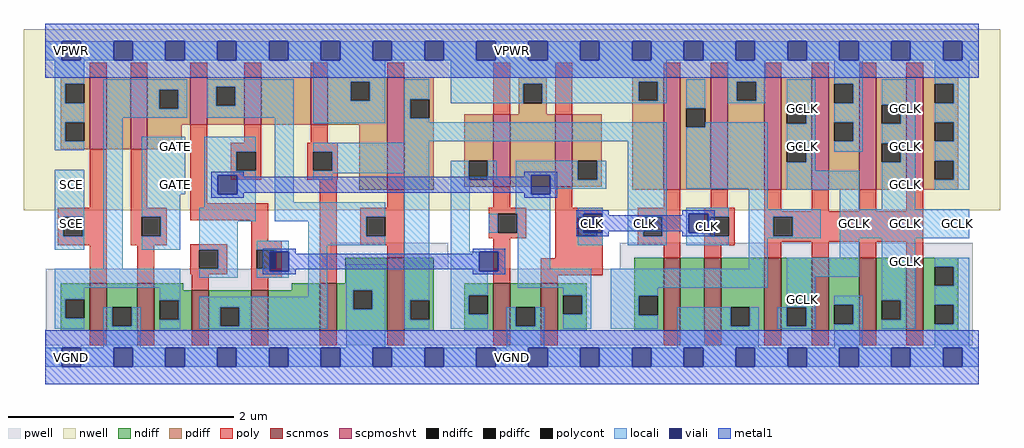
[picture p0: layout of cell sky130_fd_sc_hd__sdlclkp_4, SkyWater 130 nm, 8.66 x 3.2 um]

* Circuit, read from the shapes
.subckt sky130_fd_sc_hd__sdlclkp_4 CLK GATE SCE VGND VNB VPB VPWR GCLK
XM1 VGND SCE n1 VNB sky130_fd_pr__nfet_01v8 w=0.42 l=0.15
XM2 n1 GATE VGND VNB sky130_fd_pr__nfet_01v8 w=0.42 l=0.15
XM3 n2 n3 n1 VNB sky130_fd_pr__nfet_01v8 w=0.36 l=0.15
XM4 n4 n5 n2 VNB sky130_fd_pr__nfet_01v8 w=0.36 l=0.15
XM5 VGND n6 n4 VNB sky130_fd_pr__nfet_01v8 w=0.42 l=0.15
XM6 n6 n2 VGND VNB sky130_fd_pr__nfet_01v8 w=0.65 l=0.15
XM7 VGND n3 n5 VNB sky130_fd_pr__nfet_01v8 w=0.42 l=0.15
XM8 n3 CLK VGND VNB sky130_fd_pr__nfet_01v8 w=0.42 l=0.15
XM9 n7 n6 n8 VNB sky130_fd_pr__nfet_01v8 w=0.65 l=0.15
XM10 VGND CLK n7 VNB sky130_fd_pr__nfet_01v8 w=0.65 l=0.15
XM11 GCLK n8 VGND VNB sky130_fd_pr__nfet_01v8 w=0.65 l=0.15 m=4
XM12 n9 SCE VPWR VPB sky130_fd_pr__pfet_01v8_hvt w=0.64 l=0.15
XM13 n1 GATE n9 VPB sky130_fd_pr__pfet_01v8_hvt w=0.64 l=0.15
XM14 n2 n5 n1 VPB sky130_fd_pr__pfet_01v8_hvt w=0.42 l=0.15
XM15 n10 n3 n2 VPB sky130_fd_pr__pfet_01v8_hvt w=0.42 l=0.15
XM16 VPWR n6 n10 VPB sky130_fd_pr__pfet_01v8_hvt w=0.42 l=0.15
XM17 n6 n2 VPWR VPB sky130_fd_pr__pfet_01v8_hvt w=1 l=0.15
XM18 VPWR n3 n5 VPB sky130_fd_pr__pfet_01v8_hvt w=0.64 l=0.15
XM19 n3 CLK VPWR VPB sky130_fd_pr__pfet_01v8_hvt w=0.64 l=0.15
XM20 n8 n6 VPWR VPB sky130_fd_pr__pfet_01v8_hvt w=1 l=0.15
XM21 VPWR CLK n8 VPB sky130_fd_pr__pfet_01v8_hvt w=1 l=0.15
XM22 GCLK n8 VPWR VPB sky130_fd_pr__pfet_01v8_hvt w=1 l=0.15 m=4
.ends

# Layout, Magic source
magic
tech sky130A
magscale 1 2
<< nwell >>
rect -38 261 1694 582
<< pwell >>
rect 506 157 715 203
rect 1019 157 1646 203
rect 1 21 1646 157
rect 30 -17 64 21
<< scnmos >>
rect 79 47 109 131
rect 163 47 193 131
rect 260 47 290 119
rect 365 47 395 119
rect 487 47 517 131
rect 607 47 637 177
rect 795 47 825 131
rect 879 47 909 131
rect 1097 47 1127 177
rect 1169 47 1199 177
rect 1276 47 1306 177
rect 1360 47 1390 177
rect 1444 47 1474 177
rect 1528 47 1558 177
<< scpmoshvt >>
rect 79 369 109 497
rect 151 369 181 497
rect 257 413 287 497
rect 353 413 383 497
rect 471 413 501 497
rect 607 297 637 497
rect 795 303 825 431
rect 905 303 935 431
rect 1097 297 1127 497
rect 1181 297 1211 497
rect 1276 297 1306 497
rect 1360 297 1390 497
rect 1444 297 1474 497
rect 1528 297 1558 497
<< ndiff >>
rect 27 103 79 131
rect 27 69 35 103
rect 69 69 79 103
rect 27 47 79 69
rect 109 89 163 131
rect 109 55 119 89
rect 153 55 163 89
rect 109 47 163 55
rect 193 119 245 131
rect 532 131 607 177
rect 437 119 487 131
rect 193 101 260 119
rect 193 67 203 101
rect 237 67 260 101
rect 193 47 260 67
rect 290 89 365 119
rect 290 55 310 89
rect 344 55 365 89
rect 290 47 365 55
rect 395 47 487 119
rect 517 119 607 131
rect 517 85 546 119
rect 580 85 607 119
rect 517 47 607 85
rect 637 101 689 177
rect 637 67 647 101
rect 681 67 689 101
rect 637 47 689 67
rect 743 110 795 131
rect 743 76 751 110
rect 785 76 795 110
rect 743 47 795 76
rect 825 89 879 131
rect 825 55 835 89
rect 869 55 879 89
rect 825 47 879 55
rect 909 110 961 131
rect 909 76 919 110
rect 953 76 961 110
rect 909 47 961 76
rect 1045 109 1097 177
rect 1045 75 1053 109
rect 1087 75 1097 109
rect 1045 47 1097 75
rect 1127 47 1169 177
rect 1199 89 1276 177
rect 1199 55 1216 89
rect 1250 55 1276 89
rect 1199 47 1276 55
rect 1306 89 1360 177
rect 1306 55 1316 89
rect 1350 55 1360 89
rect 1306 47 1360 55
rect 1390 93 1444 177
rect 1390 59 1400 93
rect 1434 59 1444 93
rect 1390 47 1444 59
rect 1474 101 1528 177
rect 1474 67 1484 101
rect 1518 67 1528 101
rect 1474 47 1528 67
rect 1558 161 1620 177
rect 1558 127 1578 161
rect 1612 127 1620 161
rect 1558 93 1620 127
rect 1558 59 1578 93
rect 1612 59 1620 93
rect 1558 47 1620 59
<< pdiff >>
rect 27 485 79 497
rect 27 451 35 485
rect 69 451 79 485
rect 27 417 79 451
rect 27 383 35 417
rect 69 383 79 417
rect 27 369 79 383
rect 109 369 151 497
rect 181 475 257 497
rect 181 441 202 475
rect 236 441 257 475
rect 181 413 257 441
rect 287 480 353 497
rect 287 446 303 480
rect 337 446 353 480
rect 287 413 353 446
rect 383 413 471 497
rect 501 489 607 497
rect 501 455 542 489
rect 576 455 607 489
rect 501 413 607 455
rect 181 369 242 413
rect 557 297 607 413
rect 637 458 689 497
rect 637 424 647 458
rect 681 424 689 458
rect 840 485 890 497
rect 840 451 848 485
rect 882 451 890 485
rect 840 431 890 451
rect 1041 489 1097 497
rect 1041 455 1053 489
rect 1087 455 1097 489
rect 637 297 689 424
rect 743 349 795 431
rect 743 315 751 349
rect 785 315 795 349
rect 743 303 795 315
rect 825 303 905 431
rect 935 349 987 431
rect 935 315 945 349
rect 979 315 987 349
rect 935 303 987 315
rect 1041 297 1097 455
rect 1127 442 1181 497
rect 1127 408 1137 442
rect 1171 408 1181 442
rect 1127 297 1181 408
rect 1211 489 1276 497
rect 1211 455 1227 489
rect 1261 455 1276 489
rect 1211 297 1276 455
rect 1306 448 1360 497
rect 1306 414 1316 448
rect 1350 414 1360 448
rect 1306 380 1360 414
rect 1306 346 1316 380
rect 1350 346 1360 380
rect 1306 297 1360 346
rect 1390 485 1444 497
rect 1390 451 1400 485
rect 1434 451 1444 485
rect 1390 417 1444 451
rect 1390 383 1400 417
rect 1434 383 1444 417
rect 1390 297 1444 383
rect 1474 448 1528 497
rect 1474 414 1484 448
rect 1518 414 1528 448
rect 1474 380 1528 414
rect 1474 346 1484 380
rect 1518 346 1528 380
rect 1474 297 1528 346
rect 1558 485 1620 497
rect 1558 451 1578 485
rect 1612 451 1620 485
rect 1558 417 1620 451
rect 1558 383 1578 417
rect 1612 383 1620 417
rect 1558 349 1620 383
rect 1558 315 1578 349
rect 1612 315 1620 349
rect 1558 297 1620 315
<< ndiffc >>
rect 35 69 69 103
rect 119 55 153 89
rect 203 67 237 101
rect 310 55 344 89
rect 546 85 580 119
rect 647 67 681 101
rect 751 76 785 110
rect 835 55 869 89
rect 919 76 953 110
rect 1053 75 1087 109
rect 1216 55 1250 89
rect 1316 55 1350 89
rect 1400 59 1434 93
rect 1484 67 1518 101
rect 1578 127 1612 161
rect 1578 59 1612 93
<< pdiffc >>
rect 35 451 69 485
rect 35 383 69 417
rect 202 441 236 475
rect 303 446 337 480
rect 542 455 576 489
rect 647 424 681 458
rect 848 451 882 485
rect 1053 455 1087 489
rect 751 315 785 349
rect 945 315 979 349
rect 1137 408 1171 442
rect 1227 455 1261 489
rect 1316 414 1350 448
rect 1316 346 1350 380
rect 1400 451 1434 485
rect 1400 383 1434 417
rect 1484 414 1518 448
rect 1484 346 1518 380
rect 1578 451 1612 485
rect 1578 383 1612 417
rect 1578 315 1612 349
<< poly >>
rect 79 497 109 523
rect 151 497 181 523
rect 257 497 287 523
rect 353 497 383 523
rect 471 497 501 523
rect 607 497 637 523
rect 79 265 109 369
rect 22 249 109 265
rect 22 215 32 249
rect 66 215 109 249
rect 22 199 109 215
rect 151 265 181 369
rect 257 273 287 413
rect 353 381 383 413
rect 471 381 501 413
rect 329 365 383 381
rect 329 331 339 365
rect 373 331 383 365
rect 329 315 383 331
rect 465 365 519 381
rect 465 331 475 365
rect 509 331 519 365
rect 465 315 519 331
rect 151 249 215 265
rect 151 215 171 249
rect 205 215 215 249
rect 257 243 395 273
rect 151 199 215 215
rect 365 207 395 243
rect 79 131 109 199
rect 163 131 193 199
rect 257 191 323 201
rect 257 157 273 191
rect 307 157 323 191
rect 257 147 323 157
rect 365 191 419 207
rect 365 157 375 191
rect 409 157 419 191
rect 260 119 290 147
rect 365 141 419 157
rect 365 119 395 141
rect 487 131 517 315
rect 795 431 825 523
rect 905 431 935 523
rect 1097 497 1127 523
rect 1181 497 1211 523
rect 1276 497 1306 523
rect 1360 497 1390 523
rect 1444 497 1474 523
rect 1528 497 1558 523
rect 607 265 637 297
rect 795 265 825 303
rect 905 265 935 303
rect 1097 265 1127 297
rect 1181 265 1211 297
rect 559 249 637 265
rect 559 215 569 249
rect 603 215 637 249
rect 559 199 637 215
rect 787 255 853 265
rect 787 221 803 255
rect 837 221 853 255
rect 787 211 853 221
rect 905 249 989 265
rect 905 215 945 249
rect 979 215 989 249
rect 607 177 637 199
rect 795 131 825 211
rect 905 176 989 215
rect 1051 249 1127 265
rect 1051 215 1061 249
rect 1095 215 1127 249
rect 1051 199 1127 215
rect 1097 177 1127 199
rect 1169 249 1223 265
rect 1169 215 1179 249
rect 1213 215 1223 249
rect 1169 199 1223 215
rect 1276 259 1306 297
rect 1360 259 1390 297
rect 1444 259 1474 297
rect 1528 259 1558 297
rect 1276 249 1558 259
rect 1276 215 1292 249
rect 1326 215 1558 249
rect 1276 205 1558 215
rect 1169 177 1199 199
rect 1276 177 1306 205
rect 1360 177 1390 205
rect 1444 177 1474 205
rect 1528 177 1558 205
rect 879 146 989 176
rect 879 131 909 146
rect 79 21 109 47
rect 163 21 193 47
rect 260 21 290 47
rect 365 21 395 47
rect 487 21 517 47
rect 607 21 637 47
rect 795 21 825 47
rect 879 21 909 47
rect 1097 21 1127 47
rect 1169 21 1199 47
rect 1276 21 1306 47
rect 1360 21 1390 47
rect 1444 21 1474 47
rect 1528 21 1558 47
<< polycont >>
rect 32 215 66 249
rect 339 331 373 365
rect 475 331 509 365
rect 171 215 205 249
rect 273 157 307 191
rect 375 157 409 191
rect 569 215 603 249
rect 803 221 837 255
rect 945 215 979 249
rect 1061 215 1095 249
rect 1179 215 1213 249
rect 1292 215 1326 249
<< locali >>
rect 0 527 29 561
rect 63 527 121 561
rect 155 527 213 561
rect 247 527 305 561
rect 339 527 397 561
rect 431 527 489 561
rect 523 527 581 561
rect 615 527 673 561
rect 707 527 765 561
rect 799 527 857 561
rect 891 527 949 561
rect 983 527 1041 561
rect 1075 527 1133 561
rect 1167 527 1225 561
rect 1259 527 1317 561
rect 1351 527 1409 561
rect 1443 527 1501 561
rect 1535 527 1593 561
rect 1627 527 1656 561
rect 17 485 69 527
rect 17 451 35 485
rect 17 417 69 451
rect 17 383 35 417
rect 17 367 69 383
rect 103 475 252 493
rect 103 441 202 475
rect 236 441 252 475
rect 103 425 252 441
rect 286 480 441 493
rect 286 446 303 480
rect 337 446 441 480
rect 286 425 441 446
rect 17 249 69 333
rect 17 215 32 249
rect 66 215 69 249
rect 17 191 69 215
rect 103 157 137 425
rect 171 289 248 391
rect 282 365 373 391
rect 282 331 339 365
rect 282 323 373 331
rect 282 289 306 323
rect 340 289 373 323
rect 171 249 239 289
rect 282 265 373 289
rect 205 215 239 249
rect 171 191 239 215
rect 273 241 373 265
rect 407 275 441 425
rect 475 489 603 527
rect 475 455 542 489
rect 576 455 603 489
rect 475 415 603 455
rect 637 458 681 493
rect 637 424 647 458
rect 719 489 1103 527
rect 719 485 1053 489
rect 719 451 848 485
rect 882 455 1053 485
rect 1087 455 1103 489
rect 882 451 1103 455
rect 637 417 681 424
rect 1137 442 1171 493
rect 1211 489 1277 527
rect 1211 455 1227 489
rect 1261 455 1277 489
rect 1211 451 1277 455
rect 637 383 1103 417
rect 637 381 681 383
rect 475 365 681 381
rect 509 331 681 365
rect 475 327 681 331
rect 475 315 509 327
rect 407 249 603 275
rect 407 241 569 249
rect 273 191 341 241
rect 466 215 569 241
rect 307 157 341 191
rect 17 123 239 157
rect 273 141 341 157
rect 375 191 432 207
rect 409 187 432 191
rect 375 153 398 157
rect 375 141 432 153
rect 466 199 603 215
rect 17 103 69 123
rect 17 69 35 103
rect 203 101 239 123
rect 466 107 500 199
rect 17 51 69 69
rect 103 55 119 89
rect 153 55 169 89
rect 103 17 169 55
rect 237 67 239 101
rect 203 51 239 67
rect 273 89 500 107
rect 273 55 310 89
rect 344 55 500 89
rect 273 51 500 55
rect 534 119 603 165
rect 534 85 546 119
rect 580 85 603 119
rect 534 17 603 85
rect 637 101 681 327
rect 637 67 647 101
rect 637 51 681 67
rect 719 315 751 349
rect 785 315 801 349
rect 835 323 945 349
rect 719 187 753 315
rect 835 289 862 323
rect 896 315 945 323
rect 979 315 995 349
rect 896 299 995 315
rect 835 255 896 289
rect 787 221 803 255
rect 837 221 896 255
rect 719 153 770 187
rect 838 157 896 221
rect 945 255 989 265
rect 945 249 954 255
rect 988 221 989 255
rect 979 215 989 221
rect 945 199 989 215
rect 1033 249 1103 383
rect 1316 448 1366 493
rect 1171 408 1282 417
rect 1137 299 1282 408
rect 1033 215 1061 249
rect 1095 215 1103 249
rect 1033 199 1103 215
rect 1137 255 1213 265
rect 1137 221 1142 255
rect 1176 249 1213 255
rect 1176 221 1179 249
rect 1137 215 1179 221
rect 1137 199 1213 215
rect 1248 263 1282 299
rect 1350 414 1366 448
rect 1316 380 1366 414
rect 1350 346 1366 380
rect 1400 485 1450 527
rect 1434 451 1450 485
rect 1400 417 1450 451
rect 1434 383 1450 417
rect 1400 365 1450 383
rect 1484 448 1544 493
rect 1518 414 1544 448
rect 1484 380 1544 414
rect 1316 331 1366 346
rect 1518 346 1544 380
rect 1316 297 1444 331
rect 1410 263 1444 297
rect 1484 263 1544 346
rect 1578 485 1639 527
rect 1612 451 1639 485
rect 1578 417 1639 451
rect 1612 383 1639 417
rect 1578 349 1639 383
rect 1612 315 1639 349
rect 1578 297 1639 315
rect 1248 249 1376 263
rect 1248 215 1292 249
rect 1326 215 1376 249
rect 1248 211 1376 215
rect 1410 211 1639 263
rect 1248 157 1282 211
rect 1410 177 1444 211
rect 719 110 785 153
rect 838 123 969 157
rect 719 76 751 110
rect 919 110 969 123
rect 719 51 785 76
rect 819 55 835 89
rect 869 55 885 89
rect 819 17 885 55
rect 953 76 969 110
rect 919 51 969 76
rect 1003 123 1282 157
rect 1316 143 1444 177
rect 1003 109 1087 123
rect 1003 75 1053 109
rect 1316 89 1366 143
rect 1003 51 1087 75
rect 1121 55 1216 89
rect 1250 55 1266 89
rect 1121 17 1266 55
rect 1300 55 1316 89
rect 1350 55 1366 89
rect 1300 51 1366 55
rect 1400 93 1450 109
rect 1434 59 1450 93
rect 1400 17 1450 59
rect 1484 101 1544 211
rect 1518 67 1544 101
rect 1484 51 1544 67
rect 1578 161 1639 177
rect 1612 127 1639 161
rect 1578 93 1639 127
rect 1612 59 1639 93
rect 1578 17 1639 59
rect 0 -17 29 17
rect 63 -17 121 17
rect 155 -17 213 17
rect 247 -17 305 17
rect 339 -17 397 17
rect 431 -17 489 17
rect 523 -17 581 17
rect 615 -17 673 17
rect 707 -17 765 17
rect 799 -17 857 17
rect 891 -17 949 17
rect 983 -17 1041 17
rect 1075 -17 1133 17
rect 1167 -17 1225 17
rect 1259 -17 1317 17
rect 1351 -17 1409 17
rect 1443 -17 1501 17
rect 1535 -17 1593 17
rect 1627 -17 1656 17
<< viali >>
rect 29 527 63 561
rect 121 527 155 561
rect 213 527 247 561
rect 305 527 339 561
rect 397 527 431 561
rect 489 527 523 561
rect 581 527 615 561
rect 673 527 707 561
rect 765 527 799 561
rect 857 527 891 561
rect 949 527 983 561
rect 1041 527 1075 561
rect 1133 527 1167 561
rect 1225 527 1259 561
rect 1317 527 1351 561
rect 1409 527 1443 561
rect 1501 527 1535 561
rect 1593 527 1627 561
rect 306 289 340 323
rect 398 157 409 187
rect 409 157 432 187
rect 398 153 432 157
rect 862 289 896 323
rect 770 153 804 187
rect 954 249 988 255
rect 954 221 979 249
rect 979 221 988 249
rect 1142 221 1176 255
rect 29 -17 63 17
rect 121 -17 155 17
rect 213 -17 247 17
rect 305 -17 339 17
rect 397 -17 431 17
rect 489 -17 523 17
rect 581 -17 615 17
rect 673 -17 707 17
rect 765 -17 799 17
rect 857 -17 891 17
rect 949 -17 983 17
rect 1041 -17 1075 17
rect 1133 -17 1167 17
rect 1225 -17 1259 17
rect 1317 -17 1351 17
rect 1409 -17 1443 17
rect 1501 -17 1535 17
rect 1593 -17 1627 17
<< metal1 >>
rect 0 561 1656 592
rect 0 527 29 561
rect 63 527 121 561
rect 155 527 213 561
rect 247 527 305 561
rect 339 527 397 561
rect 431 527 489 561
rect 523 527 581 561
rect 615 527 673 561
rect 707 527 765 561
rect 799 527 857 561
rect 891 527 949 561
rect 983 527 1041 561
rect 1075 527 1133 561
rect 1167 527 1225 561
rect 1259 527 1317 561
rect 1351 527 1409 561
rect 1443 527 1501 561
rect 1535 527 1593 561
rect 1627 527 1656 561
rect 0 496 1656 527
rect 294 323 352 329
rect 294 289 306 323
rect 340 320 352 323
rect 850 323 908 329
rect 850 320 862 323
rect 340 292 862 320
rect 340 289 352 292
rect 294 283 352 289
rect 850 289 862 292
rect 896 289 908 323
rect 850 283 908 289
rect 942 255 1000 261
rect 942 221 954 255
rect 988 252 1000 255
rect 1130 255 1188 261
rect 1130 252 1142 255
rect 988 224 1142 252
rect 988 221 1000 224
rect 942 215 1000 221
rect 1130 221 1142 224
rect 1176 221 1188 255
rect 1130 215 1188 221
rect 386 187 444 193
rect 386 153 398 187
rect 432 184 444 187
rect 758 187 816 193
rect 758 184 770 187
rect 432 156 770 184
rect 432 153 444 156
rect 386 147 444 153
rect 758 153 770 156
rect 804 153 816 187
rect 758 147 816 153
rect 0 17 1656 48
rect 0 -17 29 17
rect 63 -17 121 17
rect 155 -17 213 17
rect 247 -17 305 17
rect 339 -17 397 17
rect 431 -17 489 17
rect 523 -17 581 17
rect 615 -17 673 17
rect 707 -17 765 17
rect 799 -17 857 17
rect 891 -17 949 17
rect 983 -17 1041 17
rect 1075 -17 1133 17
rect 1167 -17 1225 17
rect 1259 -17 1317 17
rect 1351 -17 1409 17
rect 1443 -17 1501 17
rect 1535 -17 1593 17
rect 1627 -17 1656 17
rect 0 -48 1656 -17
<< labels >>
flabel locali s 30 289 64 323 0 FreeSans 200 0 0 0 SCE
port 3 nsew signal input
flabel locali s 954 221 988 255 0 FreeSans 200 0 0 0 CLK
port 1 nsew clock input
flabel locali s 1326 425 1360 459 0 FreeSans 200 0 0 0 GCLK
port 8 nsew signal output
flabel locali s 1326 357 1360 391 0 FreeSans 200 0 0 0 GCLK
port 8 nsew signal output
flabel locali s 214 357 248 391 0 FreeSans 200 0 0 0 GATE
port 2 nsew signal input
flabel locali s 1326 85 1360 119 0 FreeSans 200 0 0 0 GCLK
port 8 nsew signal output
flabel locali s 214 289 248 323 0 FreeSans 200 0 0 0 GATE
port 2 nsew signal input
flabel locali s 30 221 64 255 0 FreeSans 200 0 0 0 SCE
port 3 nsew signal input
flabel locali s 1418 221 1452 255 0 FreeSans 200 0 0 0 GCLK
port 8 nsew signal output
flabel locali s 1510 425 1544 459 0 FreeSans 200 0 0 0 GCLK
port 8 nsew signal output
flabel locali s 1510 357 1544 391 0 FreeSans 200 0 0 0 GCLK
port 8 nsew signal output
flabel locali s 1510 289 1544 323 0 FreeSans 200 0 0 0 GCLK
port 8 nsew signal output
flabel locali s 1510 221 1544 255 0 FreeSans 200 0 0 0 GCLK
port 8 nsew signal output
flabel locali s 1602 221 1636 255 0 FreeSans 200 0 0 0 GCLK
port 8 nsew signal output
flabel locali s 1510 153 1544 187 0 FreeSans 200 0 0 0 GCLK
port 8 nsew signal output
flabel metal1 s 30 -17 64 17 0 FreeSans 200 0 0 0 VGND
port 4 nsew ground bidirectional abutment
flabel metal1 s 30 527 64 561 0 FreeSans 200 0 0 0 VPWR
port 7 nsew power bidirectional abutment
flabel nwell s 30 527 64 561 0 FreeSans 200 0 0 0 VPB
port 6 nsew power bidirectional
flabel pwell s 30 -17 64 17 0 FreeSans 200 0 0 0 VNB
port 5 nsew ground bidirectional
rlabel comment s 0 0 0 0 4 sdlclkp_4
rlabel locali s 1137 199 1213 265 1 CLK
port 1 nsew clock input
rlabel metal1 s 1130 252 1188 261 1 CLK
port 1 nsew clock input
rlabel metal1 s 1130 215 1188 224 1 CLK
port 1 nsew clock input
rlabel metal1 s 942 252 1000 261 1 CLK
port 1 nsew clock input
rlabel metal1 s 942 224 1188 252 1 CLK
port 1 nsew clock input
rlabel metal1 s 942 215 1000 224 1 CLK
port 1 nsew clock input
rlabel metal1 s 0 -48 1656 48 1 VGND
port 4 nsew ground bidirectional abutment
rlabel metal1 s 0 496 1656 592 1 VPWR
port 7 nsew power bidirectional abutment
<< properties >>
string FIXED_BBOX 0 0 1656 544
string GDS_END 444834
string GDS_FILE $PDKPATH/libs.ref/sky130_fd_sc_hd/gds/sky130_fd_sc_hd.gds
string GDS_START 431426
string LEFclass CORE
string LEFsite unithd
string LEFsymmetry X Y R90
string path 0.000 0.000 8.280 0.000 
<< end >>
